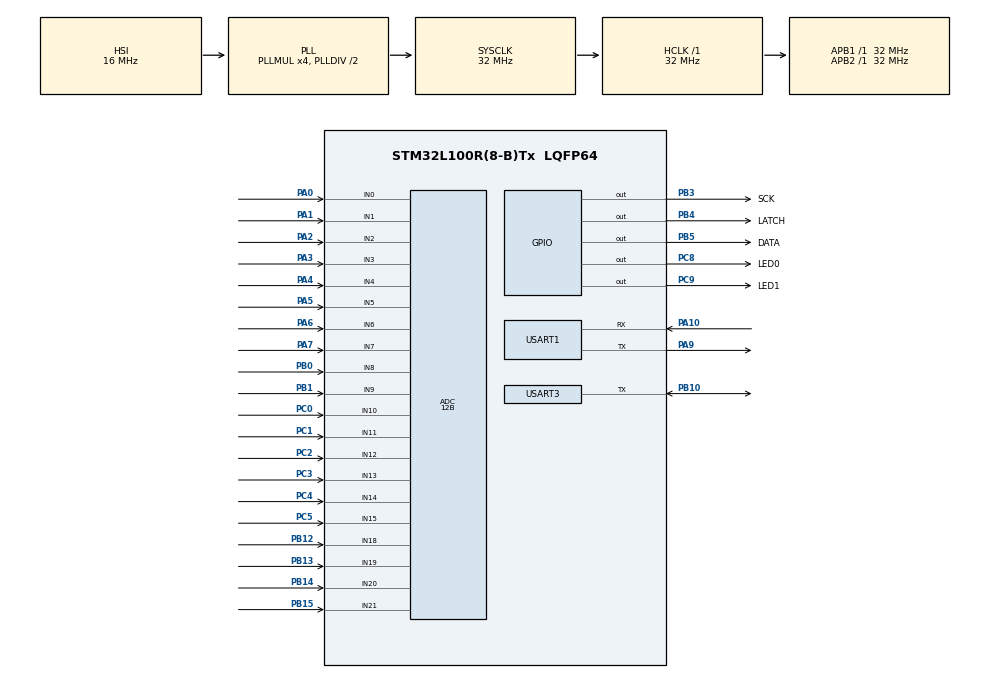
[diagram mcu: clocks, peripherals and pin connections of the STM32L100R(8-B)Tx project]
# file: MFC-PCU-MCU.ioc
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ADC.Channel-0\#ChannelRegularConversion=ADC_CHANNEL_10
ADC.Channel-1\#ChannelRegularConversion=ADC_CHANNEL_11
ADC.Channel-10\#ChannelRegularConversion=ADC_CHANNEL_6
ADC.Channel-11\#ChannelRegularConversion=ADC_CHANNEL_7
ADC.Channel-12\#ChannelRegularConversion=ADC_CHANNEL_14
ADC.Channel-13\#ChannelRegularConversion=ADC_CHANNEL_15
ADC.Channel-14\#ChannelRegularConversion=ADC_CHANNEL_8
ADC.Channel-15\#ChannelRegularConversion=ADC_CHANNEL_9
ADC.Channel-16\#ChannelRegularConversion=ADC_CHANNEL_18
ADC.Channel-17\#ChannelRegularConversion=ADC_CHANNEL_19
ADC.Channel-18\#ChannelRegularConversion=ADC_CHANNEL_20
ADC.Channel-19\#ChannelRegularConversion=ADC_CHANNEL_21
ADC.Channel-2\#ChannelRegularConversion=ADC_CHANNEL_12
ADC.Channel-3\#ChannelRegularConversion=ADC_CHANNEL_13
ADC.Channel-4\#ChannelRegularConversion=ADC_CHANNEL_0
ADC.Channel-5\#ChannelRegularConversion=ADC_CHANNEL_1
ADC.Channel-6\#ChannelRegularConversion=ADC_CHANNEL_2
ADC.Channel-7\#ChannelRegularConversion=ADC_CHANNEL_3
ADC.Channel-8\#ChannelRegularConversion=ADC_CHANNEL_4
ADC.Channel-9\#ChannelRegularConversion=ADC_CHANNEL_5
ADC.ClockPrescaler=ADC_CLOCK_ASYNC_DIV4
ADC.ContinuousConvMode=ENABLE
ADC.DMAContinuousRequests=ENABLE
ADC.DataAlign=ADC_DATAALIGN_RIGHT
ADC.DiscontinuousConvMode=DISABLE
ADC.EOCSelection=ADC_EOC_SINGLE_CONV
ADC.EnableAnalogWatchDog=false
ADC.ExternalTrigConv=ADC_SOFTWARE_START
ADC.ExternalTrigConvEdge=ADC_EXTERNALTRIGCONVEDGE_NONE
ADC.InjNumberOfConversion=0
ADC.LowPowerAutoPowerOff=ADC_AUTOPOWEROFF_DISABLE
ADC.LowPowerAutoWait=ADC_AUTOWAIT_DISABLE
ADC.NbrOfConversion=20
ADC.NbrOfConversionFlag=1
ADC.Rank-0\#ChannelRegularConversion=1
ADC.Rank-1\#ChannelRegularConversion=2
ADC.Rank-10\#ChannelRegularConversion=11
ADC.Rank-11\#ChannelRegularConversion=12
ADC.Rank-12\#ChannelRegularConversion=13
ADC.Rank-13\#ChannelRegularConversion=14
ADC.Rank-14\#ChannelRegularConversion=15
ADC.Rank-15\#ChannelRegularConversion=16
ADC.Rank-16\#ChannelRegularConversion=17
ADC.Rank-17\#ChannelRegularConversion=18
ADC.Rank-18\#ChannelRegularConversion=19
ADC.Rank-19\#ChannelRegularConversion=20
ADC.Rank-2\#ChannelRegularConversion=3
ADC.Rank-3\#ChannelRegularConversion=4
ADC.Rank-4\#ChannelRegularConversion=5
ADC.Rank-5\#ChannelRegularConversion=6
ADC.Rank-6\#ChannelRegularConversion=7
ADC.Rank-7\#ChannelRegularConversion=8
ADC.Rank-8\#ChannelRegularConversion=9
ADC.Rank-9\#ChannelRegularConversion=10
ADC.Resolution=ADC_RESOLUTION_12B
ADC.SamplingTime-0\#ChannelRegularConversion=ADC_SAMPLETIME_384CYCLES
ADC.SamplingTime-1\#ChannelRegularConversion=ADC_SAMPLETIME_384CYCLES
ADC.SamplingTime-10\#ChannelRegularConversion=ADC_SAMPLETIME_384CYCLES
ADC.SamplingTime-11\#ChannelRegularConversion=ADC_SAMPLETIME_384CYCLES
ADC.SamplingTime-12\#ChannelRegularConversion=ADC_SAMPLETIME_384CYCLES
ADC.SamplingTime-13\#ChannelRegularConversion=ADC_SAMPLETIME_384CYCLES
ADC.SamplingTime-14\#ChannelRegularConversion=ADC_SAMPLETIME_384CYCLES
ADC.SamplingTime-15\#ChannelRegularConversion=ADC_SAMPLETIME_384CYCLES
ADC.SamplingTime-16\#ChannelRegularConversion=ADC_SAMPLETIME_384CYCLES
ADC.SamplingTime-17\#ChannelRegularConversion=ADC_SAMPLETIME_384CYCLES
ADC.SamplingTime-18\#ChannelRegularConversion=ADC_SAMPLETIME_384CYCLES
ADC.SamplingTime-19\#ChannelRegularConversion=ADC_SAMPLETIME_384CYCLES
ADC.SamplingTime-2\#ChannelRegularConversion=ADC_SAMPLETIME_384CYCLES
ADC.SamplingTime-3\#ChannelRegularConversion=ADC_SAMPLETIME_384CYCLES
ADC.SamplingTime-4\#ChannelRegularConversion=ADC_SAMPLETIME_384CYCLES
ADC.SamplingTime-5\#ChannelRegularConversion=ADC_SAMPLETIME_384CYCLES
ADC.SamplingTime-6\#ChannelRegularConversion=ADC_SAMPLETIME_384CYCLES
ADC.SamplingTime-7\#ChannelRegularConversion=ADC_SAMPLETIME_384CYCLES
ADC.SamplingTime-8\#ChannelRegularConversion=ADC_SAMPLETIME_384CYCLES
ADC.SamplingTime-9\#ChannelRegularConversion=ADC_SAMPLETIME_384CYCLES
ADC.ScanConvMode=ADC_SCAN_ENABLE
Dma.ADC.0.Direction=DMA_PERIPH_TO_MEMORY
Dma.ADC.0.Instance=DMA1_Channel1
Dma.ADC.0.MemDataAlignment=DMA_MDATAALIGN_HALFWORD
Dma.ADC.0.MemInc=DMA_MINC_ENABLE
Dma.ADC.0.Mode=DMA_CIRCULAR
Dma.ADC.0.PeriphDataAlignment=DMA_PDATAALIGN_HALFWORD
Dma.ADC.0.PeriphInc=DMA_PINC_DISABLE
Dma.ADC.0.Priority=DMA_PRIORITY_MEDIUM
Dma.Request0=ADC
Mcu.Family=STM32L1
Mcu.Name=STM32L100R(8-B)Tx
Mcu.Package=LQFP64
NVIC.DMA1_Channel1_IRQn=true\:1\:0\:true\:false\:true\:false
NVIC.PriorityGroup=NVIC_PRIORITYGROUP_4
NVIC.USART1_IRQn=true\:2\:0\:true\:false\:true\:true
PA0-WKUP1.Mode=IN0
PA0-WKUP1.Signal=ADC_IN0
PA1.Mode=IN1
PA1.Signal=ADC_IN1
PA10.Mode=Asynchronous
PA10.Signal=USART1_RX
PA13.Mode=Serial_Wire
PA13.Signal=SYS_JTMS-SWDIO
PA14.Mode=Serial_Wire
PA14.Signal=SYS_JTCK-SWCLK
PA2.Mode=IN2
PA2.Signal=ADC_IN2
PA3.Mode=IN3
PA3.Signal=ADC_IN3
PA4.Mode=IN4
PA4.Signal=ADC_IN4
PA5.Mode=IN5
PA5.Signal=ADC_IN5
PA6.Mode=IN6
PA6.Signal=ADC_IN6
PA7.Mode=IN7
PA7.Signal=ADC_IN7
PA9.Mode=Asynchronous
PA9.Signal=USART1_TX
PB0.Mode=IN8
PB0.Signal=ADC_IN8
PB1.Mode=IN9
PB1.Signal=ADC_IN9
PB10.Mode=Half_duplex(single_wire_mode)
PB10.Signal=USART3_TX
PB12.Mode=IN18
PB12.Signal=ADC_IN18
PB13.Mode=IN19
PB13.Signal=ADC_IN19
PB14.Mode=IN20
PB14.Signal=ADC_IN20
PB15.Mode=IN21
PB15.Signal=ADC_IN21
PB3.GPIO_Label=SCK
PB3.GPIO_Speed=GPIO_SPEED_FREQ_VERY_HIGH
PB3.Signal=GPIO_Output
PB4.GPIO_Label=LATCH
PB4.GPIO_Speed=GPIO_SPEED_FREQ_VERY_HIGH
PB4.Signal=GPIO_Output
PB5.GPIO_Label=DATA
PB5.GPIO_Speed=GPIO_SPEED_FREQ_VERY_HIGH
PB5.Signal=GPIO_Output
PC0.Mode=IN10
PC0.Signal=ADC_IN10
PC1.Mode=IN11
PC1.Signal=ADC_IN11
PC2.Mode=IN12
PC2.Signal=ADC_IN12
PC3.Mode=IN13
PC3.Signal=ADC_IN13
PC4.Mode=IN14
PC4.Signal=ADC_IN14
PC5.Mode=IN15
PC5.Signal=ADC_IN15
PC8.GPIO_Label=LED0
PC8.GPIO_Speed=GPIO_SPEED_FREQ_HIGH
PC8.Signal=GPIO_Output
PC9.GPIO_Label=LED1
PC9.GPIO_Speed=GPIO_SPEED_FREQ_HIGH
PC9.Signal=GPIO_Output
ProjectManager.HeapSize=0x200
ProjectManager.StackSize=0x400
ProjectManager.TargetToolchain=EWARM
RCC.48MHZClocksFreq_Value=32000000
RCC.AHBFreq_Value=32000000
RCC.APB1Freq_Value=32000000
RCC.APB1TimFreq_Value=32000000
RCC.APB2Freq_Value=32000000
RCC.APB2TimFreq_Value=32000000
RCC.HCLKFreq_Value=32000000
RCC.HSE_VALUE=16000000
RCC.HSI_VALUE=16000000
RCC.LSE_VALUE=32768
RCC.MSI_VALUE=2097000
RCC.PLLMUL=RCC_PLL_MUL4
RCC.SYSCLKFreq_VALUE=32000000
RCC.SYSCLKSource=RCC_SYSCLKSOURCE_PLLCLK
RCC.VCOOutputFreq_Value=64000000
USART1.VirtualMode=VM_ASYNC
USART3.VirtualMode=VM_ASYNC
board=MFC-PCU-MCU

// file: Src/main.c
/**
  ******************************************************************************
  * @file           : main.c
  * @brief          : Main program body
  ******************************************************************************
  ** This notice applies to any and all portions of this file
  * that are not between comment pairs USER CODE BEGIN and
  * USER CODE END. Other portions of this file, whether
  * inserted by the user or by software development tools
  * are owned by their respective copyright owners.
  *
  * COPYRIGHT(c) 2018 STMicroelectronics
  *
  * Redistribution and use in source and binary forms, with or without modification,
  * are permitted provided that the following conditions are met:
  *   1. Redistributions of source code must retain the above copyright notice,
  *      this list of conditions and the following disclaimer.
  *   2. Redistributions in binary form must reproduce the above copyright notice,
  *      this list of conditions and the following disclaimer in the documentation
  *      and/or other materials provided with the distribution.
  *   3. Neither the name of STMicroelectronics nor the names of its contributors
  *      may be used to endorse or promote products derived from this software
  *      without specific prior written permission.
  *
  * THIS SOFTWARE IS PROVIDED BY THE COPYRIGHT HOLDERS AND CONTRIBUTORS "AS IS"
  * AND ANY EXPRESS OR IMPLIED WARRANTIES, INCLUDING, BUT NOT LIMITED TO, THE
  * IMPLIED WARRANTIES OF MERCHANTABILITY AND FITNESS FOR A PARTICULAR PURPOSE ARE
  * DISCLAIMED. IN NO EVENT SHALL THE COPYRIGHT HOLDER OR CONTRIBUTORS BE LIABLE
  * FOR ANY DIRECT, INDIRECT, INCIDENTAL, SPECIAL, EXEMPLARY, OR CONSEQUENTIAL
  * DAMAGES (INCLUDING, BUT NOT LIMITED TO, PROCUREMENT OF SUBSTITUTE GOODS OR
  * SERVICES; LOSS OF USE, DATA, OR PROFITS; OR BUSINESS INTERRUPTION) HOWEVER
  * CAUSED AND ON ANY THEORY OF LIABILITY, WHETHER IN CONTRACT, STRICT LIABILITY,
  * OR TORT (INCLUDING NEGLIGENCE OR OTHERWISE) ARISING IN ANY WAY OUT OF THE USE
  * OF THIS SOFTWARE, EVEN IF ADVISED OF THE POSSIBILITY OF SUCH DAMAGE.
  *
  ******************************************************************************
  */
#include "main.h"
#include "stm32l1xx_hal.h"

/* USER CODE BEGIN Includes */

#include "18b20_hal_lib.h"

#define SCK_LOW           HAL_GPIO_WritePin(GPIOB, GPIO_PIN_3, GPIO_PIN_RESET)
#define SCK_HIGH          HAL_GPIO_WritePin(GPIOB, GPIO_PIN_3, GPIO_PIN_SET)
#define LCH_LOW           HAL_GPIO_WritePin(GPIOB, GPIO_PIN_4, GPIO_PIN_RESET)
#define LCH_HIGH          HAL_GPIO_WritePin(GPIOB, GPIO_PIN_4, GPIO_PIN_SET)
#define DATA_LOW          HAL_GPIO_WritePin(GPIOB, GPIO_PIN_5, GPIO_PIN_RESET)
#define DATA_HIGH         HAL_GPIO_WritePin(GPIOB, GPIO_PIN_5, GPIO_PIN_SET)

#define LED0_LOW          HAL_GPIO_WritePin(GPIOC, GPIO_PIN_9, GPIO_PIN_RESET)
#define LED0_HIGH         HAL_GPIO_WritePin(GPIOC, GPIO_PIN_9, GPIO_PIN_SET)
#define LED1_LOW          HAL_GPIO_WritePin(GPIOC, GPIO_PIN_8, GPIO_PIN_RESET)
#define LED1_HIGH         HAL_GPIO_WritePin(GPIOC, GPIO_PIN_8, GPIO_PIN_SET)

/* USER CODE END Includes */

ADC_HandleTypeDef hadc;
DMA_HandleTypeDef hdma_adc;

UART_HandleTypeDef huart1;
UART_HandleTypeDef huart3;

/* USER CODE BEGIN PV */
/* Private variables ---------------------------------------------------------*/

uint8_t dataArray[24];
uint8_t i = 0, dataArrayIndex = 0, iCounter = 0, jCounter = 0, start = 0;
uint16_t temperature18b20;
uint8_t RPI_ReceiveBuffer[4] = {0};
uint8_t RPI_TransmitBuffer[3] = {0};
uint16_t ADC_Data[20] = {0};
uint16_t ADC_Data_Array[20][200] = {0};
uint16_t ADC_Data_Array_Approx[20] = {0};
uint32_t buffer = 0;

extern uint8_t receiveDataUART[];

/* USER CODE END PV */

void SystemClock_Config(void);
static void MX_GPIO_Init(void);
static void MX_DMA_Init(void);
static void MX_ADC_Init(void);
static void MX_USART1_UART_Init(void);
static void MX_USART3_UART_Init(void);

/* USER CODE BEGIN PFP */
/* Private function prototypes -----------------------------------------------*/

/* USER CODE END PFP */

/* USER CODE BEGIN 0 */

void delay(void)                                                                // Delay
{
  for (uint32_t delayCounter=0; delayCounter<15000; delayCounter++)
    asm("NOP");
}

void sendData(void)                                                             // SoftSPI Transmit for 74HC595
{
  __disable_interrupt();

  DATA_LOW;                                                                     // Empty 3 bits
  asm("nop");
  SCK_HIGH;                                                                     // 24
  asm("nop");
  SCK_LOW;
  asm("nop");
  SCK_HIGH;                                                                     // 23
  asm("nop");
  SCK_LOW;
  asm("nop");
  SCK_HIGH;                                                                     // 22
  asm("nop");
  SCK_LOW;

  for (i=21; i>0; i--)                                                          // 21 -> 1
  {
    if (dataArray[i] == 0)
      DATA_LOW;
    else
      DATA_HIGH;
    asm("nop");
    SCK_HIGH;
    asm("nop");
    SCK_LOW;
    asm("nop");
  }

  LCH_HIGH;
  asm("nop");
  LCH_LOW;                                                                      // end of frame

  __enable_interrupt();
}

void UART_Request_Handler(void)
{
  if ((RPI_ReceiveBuffer[0] == 'S') && (RPI_ReceiveBuffer[1] > 0) && (RPI_ReceiveBuffer[1] <= 21))             // SET Normal Command
  {
    LED1_HIGH;

    dataArrayIndex = RPI_ReceiveBuffer[1];
    dataArray[dataArrayIndex] = RPI_ReceiveBuffer[2];
    sendData();

    RPI_TransmitBuffer[0] = 'S';
    RPI_TransmitBuffer[1] = dataArrayIndex;
    RPI_TransmitBuffer[2] = RPI_ReceiveBuffer[2];
    HAL_UART_Transmit_IT(&huart1, RPI_TransmitBuffer, 3);

    delay();
    LED1_LOW;
  }

  else if ((RPI_ReceiveBuffer[0] == 'S') && (RPI_ReceiveBuffer[1] == 'A') && (RPI_ReceiveBuffer[2] == 0))      // SET ALL LOW Command
  {
    LED1_HIGH;

    for (i=1; i<22; i++)                                                                                       // Zeroing All Outputs
    dataArray[i] = 0;
    sendData();

    RPI_TransmitBuffer[0] = 'S';
    RPI_TransmitBuffer[1] = 'A';
    RPI_TransmitBuffer[2] = 0;
    HAL_UART_Transmit_IT(&huart1, RPI_TransmitBuffer, 3);

    delay();
    LED1_LOW;
  }

  else if ((RPI_ReceiveBuffer[0] == 'R') && (RPI_ReceiveBuffer[1] > 0) && (RPI_ReceiveBuffer[1] <= 21))        // READ Command
  {
    LED1_HIGH;

    RPI_TransmitBuffer[0] = 'R';
    dataArrayIndex = RPI_ReceiveBuffer[1];
    RPI_TransmitBuffer[1] = dataArrayIndex;
    RPI_TransmitBuffer[2] = dataArray[dataArrayIndex];
    HAL_UART_Transmit_IT(&huart1, RPI_TransmitBuffer, 3);

    delay();
    LED1_LOW;
  }

  else if ((RPI_ReceiveBuffer[0] == 'T') && (RPI_ReceiveBuffer[1] == 'M') && (RPI_ReceiveBuffer[2] == 'P'))    // Temperature
  {
    LED1_HIGH;

    RPI_TransmitBuffer[0] = 0x00;
    RPI_TransmitBuffer[1] = (temperature18b20 & 0xFF00) >> 8;
    RPI_TransmitBuffer[2] = (temperature18b20 & 0x00FF);
    HAL_UART_Transmit_IT(&huart1, RPI_TransmitBuffer, 3);

    delay();
    LED1_LOW;
  }

  else
    HAL_UART_Transmit_IT(&huart1, "HUY", 3);

}

void HAL_UART_RxCpltCallback(UART_HandleTypeDef *huart1)                        // UART RPI Response
{
  if (start == 0x14)
  {
    HAL_UART_Receive(huart1, (uint8_t*)RPI_ReceiveBuffer, 4, 100);
    if (RPI_ReceiveBuffer[3] == 0x88)
      UART_Request_Handler();
    else
    {
      HAL_UART_Transmit(huart1, "ERR", 3, 100);
      RPI_ReceiveBuffer[0] = 0;
      RPI_ReceiveBuffer[1] = 0;
      RPI_ReceiveBuffer[2] = 0;
      RPI_ReceiveBuffer[3] = 0;
    }
  }
  else
  {
    HAL_UART_Transmit(huart1, "ERR", 3, 100);
    RPI_ReceiveBuffer[0] = 0;
    RPI_ReceiveBuffer[1] = 0;
    RPI_ReceiveBuffer[2] = 0;
    RPI_ReceiveBuffer[3] = 0;
  }

  HAL_UART_Receive_IT(huart1,(uint8_t*) &start, 1);
}

void HAL_ADC_ConvCpltCallback(ADC_HandleTypeDef* hadc)                                  // ADC Data Approximation
{
  if (jCounter < 200)
  {
    for (iCounter = 0; iCounter < 20; iCounter++)
      ADC_Data_Array[iCounter][jCounter] = ADC_Data[iCounter];
    jCounter++;
  }
  else
  {
    for (iCounter = 0; iCounter < 20; iCounter++)
    {
      buffer = 0;
      for (jCounter = 0; jCounter < 200; jCounter++)
        buffer += ADC_Data_Array[iCounter][jCounter];
      ADC_Data_Array_Approx[iCounter] = buffer / 200;
    }
    jCounter = 0;
  }
}

/* USER CODE END 0 */

int main(void)
{

  /* MCU Configuration----------------------------------------------------------*/

  /* Reset of all peripherals, Initializes the Flash interface and the Systick. */
  HAL_Init();

  /* Configure the system clock */
  SystemClock_Config();

  /* Initialize all configured peripherals */
  MX_GPIO_Init();
  MX_DMA_Init();
  MX_ADC_Init();
  MX_USART1_UART_Init();
  MX_USART3_UART_Init();
  /* USER CODE BEGIN 2 */

  if(HAL_UART_Init(&huart1) == HAL_OK)
  {
    LED0_HIGH;                                                                  // UART State LED
    HAL_UART_Transmit(&huart1, "PWR", 3, 1000);
  }
  else
    LED0_LOW;

  for (i = 1; i < 22; i++)                                                      // Zeroing All Outputs
    dataArray[i] = 0;
  sendData();

  HAL_ADC_Start_DMA(&hadc,(uint32_t*) &ADC_Data, 20);

  TemperatureSense18b20();
  HAL_Delay(750);
//  ReadTemperature18b20();
  temperature18b20 = Data_to_2Bytes(receiveDataUART) / 2;

  HAL_StatusTypeDef ret = HAL_UART_Receive_IT(&huart1, (uint8_t*) &start, 1);
  if (ret != HAL_OK) while(1);

  /* USER CODE END 2 */

  /* Infinite loop */
  /* USER CODE BEGIN WHILE */

  while (1)
  {
    TemperatureSense18b20();
    HAL_Delay(750);
//    ReadTemperature18b20();
    temperature18b20 = Data_to_2Bytes(receiveDataUART) / 2;

//    printf ("%d\n", ADC_Data_Array_Approx[0]);

  /* USER CODE END WHILE */

  }

}

void SystemClock_Config(void)
{

  RCC_OscInitTypeDef RCC_OscInitStruct;
  RCC_ClkInitTypeDef RCC_ClkInitStruct;

    /**Configure the main internal regulator output voltage
    */
  __HAL_PWR_VOLTAGESCALING_CONFIG(PWR_REGULATOR_VOLTAGE_SCALE1);

    /**Initializes the CPU, AHB and APB busses clocks
    */
  RCC_OscInitStruct.OscillatorType = RCC_OSCILLATORTYPE_HSI;
  RCC_OscInitStruct.HSIState = RCC_HSI_ON;
  RCC_OscInitStruct.HSICalibrationValue = 16;
  RCC_OscInitStruct.PLL.PLLState = RCC_PLL_ON;
  RCC_OscInitStruct.PLL.PLLSource = RCC_PLLSOURCE_HSI;
  RCC_OscInitStruct.PLL.PLLMUL = RCC_PLL_MUL4;
  RCC_OscInitStruct.PLL.PLLDIV = RCC_PLL_DIV2;
  if (HAL_RCC_OscConfig(&RCC_OscInitStruct) != HAL_OK)
  {
    _Error_Handler(__FILE__, __LINE__);
  }

    /**Initializes the CPU, AHB and APB busses clocks
    */
  RCC_ClkInitStruct.ClockType = RCC_CLOCKTYPE_HCLK|RCC_CLOCKTYPE_SYSCLK
                              |RCC_CLOCKTYPE_PCLK1|RCC_CLOCKTYPE_PCLK2;
  RCC_ClkInitStruct.SYSCLKSource = RCC_SYSCLKSOURCE_PLLCLK;
  RCC_ClkInitStruct.AHBCLKDivider = RCC_SYSCLK_DIV1;
  RCC_ClkInitStruct.APB1CLKDivider = RCC_HCLK_DIV1;
  RCC_ClkInitStruct.APB2CLKDivider = RCC_HCLK_DIV1;

  if (HAL_RCC_ClockConfig(&RCC_ClkInitStruct, FLASH_LATENCY_1) != HAL_OK)
  {
    _Error_Handler(__FILE__, __LINE__);
  }

    /**Configure the Systick interrupt time
    */
  HAL_SYSTICK_Config(HAL_RCC_GetHCLKFreq()/1000);

    /**Configure the Systick
    */
  HAL_SYSTICK_CLKSourceConfig(SYSTICK_CLKSOURCE_HCLK);

  /* SysTick_IRQn interrupt configuration */
  HAL_NVIC_SetPriority(SysTick_IRQn, 0, 0);
}

/* ADC init function */
static void MX_ADC_Init(void)
{

  ADC_ChannelConfTypeDef sConfig;

    /**Configure the global features of the ADC (Clock, Resolution, Data Alignment and number of conversion)
    */
  hadc.Instance = ADC1;
  hadc.Init.ClockPrescaler = ADC_CLOCK_ASYNC_DIV4;
  hadc.Init.Resolution = ADC_RESOLUTION_12B;
  hadc.Init.DataAlign = ADC_DATAALIGN_RIGHT;
  hadc.Init.ScanConvMode = ADC_SCAN_ENABLE;
  hadc.Init.EOCSelection = ADC_EOC_SINGLE_CONV;
  hadc.Init.LowPowerAutoWait = ADC_AUTOWAIT_DISABLE;
  hadc.Init.LowPowerAutoPowerOff = ADC_AUTOPOWEROFF_DISABLE;
  hadc.Init.ChannelsBank = ADC_CHANNELS_BANK_A;
  hadc.Init.ContinuousConvMode = ENABLE;
  hadc.Init.NbrOfConversion = 20;
  hadc.Init.DiscontinuousConvMode = DISABLE;
  hadc.Init.ExternalTrigConv = ADC_SOFTWARE_START;
  hadc.Init.ExternalTrigConvEdge = ADC_EXTERNALTRIGCONVEDGE_NONE;
  hadc.Init.DMAContinuousRequests = ENABLE;
  if (HAL_ADC_Init(&hadc) != HAL_OK)
  {
    _Error_Handler(__FILE__, __LINE__);
  }

    /**Configure for the selected ADC regular channel its corresponding rank in the sequencer and its sample time.
    */
  sConfig.Channel = ADC_CHANNEL_10;
  sConfig.Rank = ADC_REGULAR_RANK_1;
  sConfig.SamplingTime = ADC_SAMPLETIME_384CYCLES;
  if (HAL_ADC_ConfigChannel(&hadc, &sConfig) != HAL_OK)
  {
    _Error_Handler(__FILE__, __LINE__);
  }

    /**Configure for the selected ADC regular channel its corresponding rank in the sequencer and its sample time.
    */
  sConfig.Channel = ADC_CHANNEL_11;
  sConfig.Rank = ADC_REGULAR_RANK_2;
  if (HAL_ADC_ConfigChannel(&hadc, &sConfig) != HAL_OK)
  {
    _Error_Handler(__FILE__, __LINE__);
  }

    /**Configure for the selected ADC regular channel its corresponding rank in the sequencer and its sample time.
    */
  sConfig.Channel = ADC_CHANNEL_12;
  sConfig.Rank = ADC_REGULAR_RANK_3;
  if (HAL_ADC_ConfigChannel(&hadc, &sConfig) != HAL_OK)
  {
    _Error_Handler(__FILE__, __LINE__);
  }

    /**Configure for the selected ADC regular channel its corresponding rank in the sequencer and its sample time.
    */
  sConfig.Channel = ADC_CHANNEL_13;
  sConfig.Rank = ADC_REGULAR_RANK_4;
  if (HAL_ADC_ConfigChannel(&hadc, &sConfig) != HAL_OK)
  {
    _Error_Handler(__FILE__, __LINE__);
  }

    /**Configure for the selected ADC regular channel its corresponding rank in the sequencer and its sample time.
    */
  sConfig.Channel = ADC_CHANNEL_0;
  sConfig.Rank = ADC_REGULAR_RANK_5;
  if (HAL_ADC_ConfigChannel(&hadc, &sConfig) != HAL_OK)
  {
    _Error_Handler(__FILE__, __LINE__);
  }

    /**Configure for the selected ADC regular channel its corresponding rank in the sequencer and its sample time.
    */
  sConfig.Channel = ADC_CHANNEL_1;
  sConfig.Rank = ADC_REGULAR_RANK_6;
  if (HAL_ADC_ConfigChannel(&hadc, &sConfig) != HAL_OK)
  {
    _Error_Handler(__FILE__, __LINE__);
  }

    /**Configure for the selected ADC regular channel its corresponding rank in the sequencer and its sample time.
    */
  sConfig.Channel = ADC_CHANNEL_2;
  sConfig.Rank = ADC_REGULAR_RANK_7;
  if (HAL_ADC_ConfigChannel(&hadc, &sConfig) != HAL_OK)
  {
    _Error_Handler(__FILE__, __LINE__);
  }

    /**Configure for the selected ADC regular channel its corresponding rank in the sequencer and its sample time.
    */
  sConfig.Channel = ADC_CHANNEL_3;
  sConfig.Rank = ADC_REGULAR_RANK_8;
  if (HAL_ADC_ConfigChannel(&hadc, &sConfig) != HAL_OK)
  {
    _Error_Handler(__FILE__, __LINE__);
  }

    /**Configure for the selected ADC regular channel its corresponding rank in the sequencer and its sample time.
    */
  sConfig.Channel = ADC_CHANNEL_4;
  sConfig.Rank = ADC_REGULAR_RANK_9;
  if (HAL_ADC_ConfigChannel(&hadc, &sConfig) != HAL_OK)
  {
    _Error_Handler(__FILE__, __LINE__);
  }

    /**Configure for the selected ADC regular channel its corresponding rank in the sequencer and its sample time.
    */
  sConfig.Channel = ADC_CHANNEL_5;
  sConfig.Rank = ADC_REGULAR_RANK_10;
  if (HAL_ADC_ConfigChannel(&hadc, &sConfig) != HAL_OK)
  {
    _Error_Handler(__FILE__, __LINE__);
  }

    /**Configure for the selected ADC regular channel its corresponding rank in the sequencer and its sample time.
    */
  sConfig.Channel = ADC_CHANNEL_6;
  sConfig.Rank = ADC_REGULAR_RANK_11;
  if (HAL_ADC_ConfigChannel(&hadc, &sConfig) != HAL_OK)
  {
    _Error_Handler(__FILE__, __LINE__);
  }

    /**Configure for the selected ADC regular channel its corresponding rank in the sequencer and its sample time.
    */
  sConfig.Channel = ADC_CHANNEL_7;
  sConfig.Rank = ADC_REGULAR_RANK_12;
  if (HAL_ADC_ConfigChannel(&hadc, &sConfig) != HAL_OK)
  {
    _Error_Handler(__FILE__, __LINE__);
  }

    /**Configure for the selected ADC regular channel its corresponding rank in the sequencer and its sample time.
    */
  sConfig.Channel = ADC_CHANNEL_14;
  sConfig.Rank = ADC_REGULAR_RANK_13;
  if (HAL_ADC_ConfigChannel(&hadc, &sConfig) != HAL_OK)
  {
    _Error_Handler(__FILE__, __LINE__);
  }

    /**Configure for the selected ADC regular channel its corresponding rank in the sequencer and its sample time.
    */
  sConfig.Channel = ADC_CHANNEL_15;
  sConfig.Rank = ADC_REGULAR_RANK_14;
  if (HAL_ADC_ConfigChannel(&hadc, &sConfig) != HAL_OK)
  {
    _Error_Handler(__FILE__, __LINE__);
  }

    /**Configure for the selected ADC regular channel its corresponding rank in the sequencer and its sample time.
    */
  sConfig.Channel = ADC_CHANNEL_8;
  sConfig.Rank = ADC_REGULAR_RANK_15;
  if (HAL_ADC_ConfigChannel(&hadc, &sConfig) != HAL_OK)
  {
    _Error_Handler(__FILE__, __LINE__);
  }

    /**Configure for the selected ADC regular channel its corresponding rank in the sequencer and its sample time.
    */
  sConfig.Channel = ADC_CHANNEL_9;
  sConfig.Rank = ADC_REGULAR_RANK_16;
  if (HAL_ADC_ConfigChannel(&hadc, &sConfig) != HAL_OK)
  {
    _Error_Handler(__FILE__, __LINE__);
  }

    /**Configure for the selected ADC regular channel its corresponding rank in the sequencer and its sample time.
    */
  sConfig.Channel = ADC_CHANNEL_18;
  sConfig.Rank = ADC_REGULAR_RANK_17;
  if (HAL_ADC_ConfigChannel(&hadc, &sConfig) != HAL_OK)
  {
    _Error_Handler(__FILE__, __LINE__);
  }

    /**Configure for the selected ADC regular channel its corresponding rank in the sequencer and its sample time.
    */
  sConfig.Channel = ADC_CHANNEL_19;
  sConfig.Rank = ADC_REGULAR_RANK_18;
  if (HAL_ADC_ConfigChannel(&hadc, &sConfig) != HAL_OK)
  {
    _Error_Handler(__FILE__, __LINE__);
  }

    /**Configure for the selected ADC regular channel its corresponding rank in the sequencer and its sample time.
    */
  sConfig.Channel = ADC_CHANNEL_20;
  sConfig.Rank = ADC_REGULAR_RANK_19;
  if (HAL_ADC_ConfigChannel(&hadc, &sConfig) != HAL_OK)
  {
    _Error_Handler(__FILE__, __LINE__);
  }

    /**Configure for the selected ADC regular channel its corresponding rank in the sequencer and its sample time.
    */
  sConfig.Channel = ADC_CHANNEL_21;
  sConfig.Rank = ADC_REGULAR_RANK_20;
  if (HAL_ADC_ConfigChannel(&hadc, &sConfig) != HAL_OK)
  {
    _Error_Handler(__FILE__, __LINE__);
  }

}

/* USART1 init function */
static void MX_USART1_UART_Init(void)
{

  huart1.Instance = USART1;
  huart1.Init.BaudRate = 115200;
  huart1.Init.WordLength = UART_WORDLENGTH_8B;
  huart1.Init.StopBits = UART_STOPBITS_1;
  huart1.Init.Parity = UART_PARITY_NONE;
  huart1.Init.Mode = UART_MODE_TX_RX;
  huart1.Init.HwFlowCtl = UART_HWCONTROL_NONE;
  huart1.Init.OverSampling = UART_OVERSAMPLING_16;
  if (HAL_UART_Init(&huart1) != HAL_OK)
  {
    _Error_Handler(__FILE__, __LINE__);
  }

}

/* USART3 init function */
static void MX_USART3_UART_Init(void)
{

  huart3.Instance = USART3;
  huart3.Init.BaudRate = 115200;
  huart3.Init.WordLength = UART_WORDLENGTH_8B;
  huart3.Init.StopBits = UART_STOPBITS_1;
  huart3.Init.Parity = UART_PARITY_NONE;
  huart3.Init.Mode = UART_MODE_TX_RX;
  huart3.Init.HwFlowCtl = UART_HWCONTROL_NONE;
  huart3.Init.OverSampling = UART_OVERSAMPLING_16;
  if (HAL_HalfDuplex_Init(&huart3) != HAL_OK)
  {
    _Error_Handler(__FILE__, __LINE__);
  }

}

static void MX_DMA_Init(void)
{
  /* DMA controller clock enable */
  __HAL_RCC_DMA1_CLK_ENABLE();

  /* DMA interrupt init */
  /* DMA1_Channel1_IRQn interrupt configuration */
  HAL_NVIC_SetPriority(DMA1_Channel1_IRQn, 2, 0);
  HAL_NVIC_EnableIRQ(DMA1_Channel1_IRQn);

}

/** Configure pins as
        * Analog
        * Input
        * Output
        * EVENT_OUT
        * EXTI
*/
static void MX_GPIO_Init(void)
{

  GPIO_InitTypeDef GPIO_InitStruct;

  /* GPIO Ports Clock Enable */
  __HAL_RCC_GPIOC_CLK_ENABLE();
  __HAL_RCC_GPIOA_CLK_ENABLE();
  __HAL_RCC_GPIOB_CLK_ENABLE();

  /*Configure GPIO pin Output Level */
  HAL_GPIO_WritePin(GPIOC, LED0_Pin|LED1_Pin, GPIO_PIN_RESET);

  /*Configure GPIO pin Output Level */
  HAL_GPIO_WritePin(GPIOB, SCK_Pin|LATCH_Pin|DATA_Pin, GPIO_PIN_RESET);

  /*Configure GPIO pins : LED0_Pin LED1_Pin */
  GPIO_InitStruct.Pin = LED0_Pin|LED1_Pin;
  GPIO_InitStruct.Mode = GPIO_MODE_OUTPUT_PP;
  GPIO_InitStruct.Pull = GPIO_NOPULL;
  GPIO_InitStruct.Speed = GPIO_SPEED_FREQ_HIGH;
  HAL_GPIO_Init(GPIOC, &GPIO_InitStruct);

  /*Configure GPIO pins : SCK_Pin LATCH_Pin DATA_Pin */
  GPIO_InitStruct.Pin = SCK_Pin|LATCH_Pin|DATA_Pin;
  GPIO_InitStruct.Mode = GPIO_MODE_OUTPUT_PP;
  GPIO_InitStruct.Pull = GPIO_NOPULL;
  GPIO_InitStruct.Speed = GPIO_SPEED_FREQ_VERY_HIGH;
  HAL_GPIO_Init(GPIOB, &GPIO_InitStruct);

}

void _Error_Handler(char *file, int line)
{
  while(1)
  {
  }
}

/************************ (C) COPYRIGHT STMicroelectronics *****END OF FILE****/
